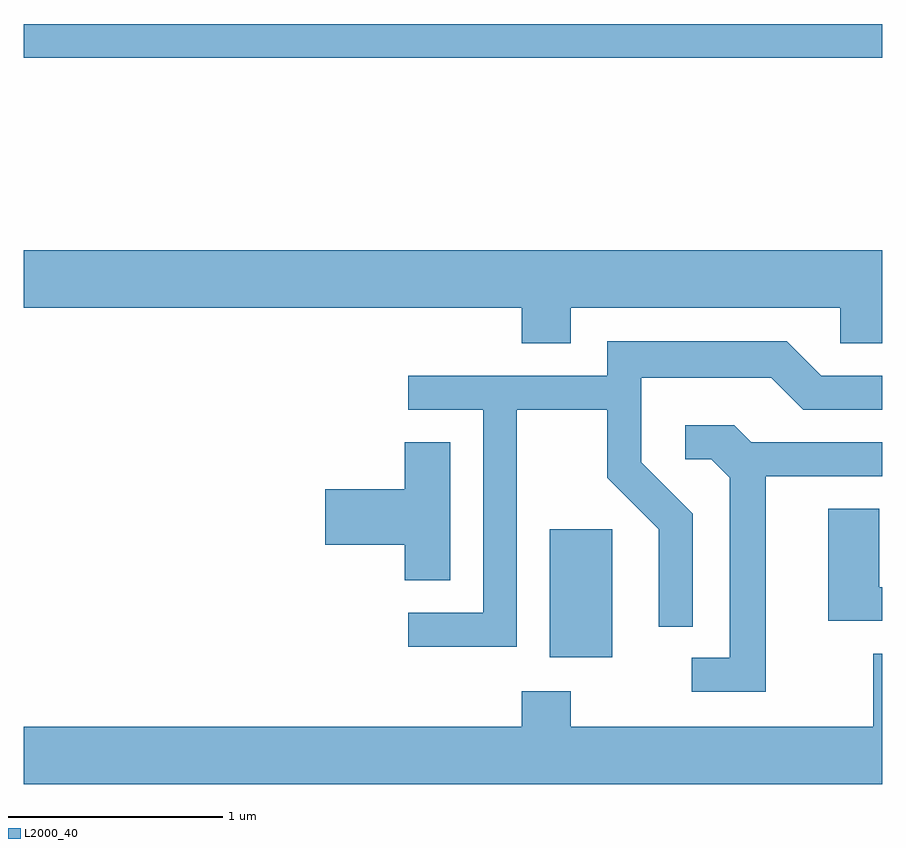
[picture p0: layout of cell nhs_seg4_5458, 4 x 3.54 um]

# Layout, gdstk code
import gdstk
lib = gdstk.Library(unit=1e-6, precision=1e-09)
def R(c, l, rs):  # rectangles x0, y0, x1, y1
    for r in rs: c.add(gdstk.rectangle(r[:2], r[2:], *l))
def P(c, l, *ps):  # polygons
    for p in ps: c.add(gdstk.Polygon(p, *l))
L2000_40 = (2000, 40)

nhs_seg4_5458 = lib.new_cell('nhs_seg4_5458')
R(nhs_seg4_5458, L2000_40, [(348.061,1290.886,348.354,1291.484), (345.611,1293.681,349.611,1293.839)])
P(nhs_seg4_5458, L2000_40, [(348.159,1292.516),(349.416,1292.516),(349.416,1292.351),(349.611,1292.351),(349.611,1292.784),(345.611,1292.784),(345.611,1292.516),(347.931,1292.516),(347.931,1292.351),(348.159,1292.351)],
  [(347.909,1292.041),(348.331,1292.041),(348.331,1291.724),(348.571,1291.484),(348.571,1291.028),(348.729,1291.028),(348.729,1291.557),(348.489,1291.797),(348.489,1292.191),(349.094,1292.191),(349.244,1292.041),(349.611,1292.041),(349.611,1292.199),(349.327,1292.199),(349.167,1292.359),(348.331,1292.359),(348.331,1292.199),(347.403,1292.199),(347.403,1292.041),(347.751,1292.041),(347.751,1291.094),(347.403,1291.094),(347.403,1290.936),(347.909,1290.936)],
  [(349.069,1291.731),(349.611,1291.731),(349.611,1291.889),(349.002,1291.889),(348.922,1291.969),(348.693,1291.969),(348.693,1291.811),(348.814,1291.811),(348.901,1291.724),(348.901,1290.884),(348.723,1290.884),(348.723,1290.726),(349.069,1290.726)],
  [(347.599,1291.889),(347.386,1291.889),(347.386,1291.669),(347.016,1291.669),(347.016,1291.411),(347.386,1291.411),(347.386,1291.246),(347.599,1291.246)],
  [(349.611,1291.214),(349.599,1291.214),(349.599,1291.579),(349.361,1291.579),(349.361,1291.056),(349.611,1291.056)],
  [(349.611,1290.904),(349.571,1290.904),(349.571,1290.564),(348.159,1290.564),(348.159,1290.729),(347.931,1290.729),(347.931,1290.564),(345.611,1290.564),(345.611,1290.296),(349.611,1290.296)])

lib.write_gds('nhs_seg4_5458.gds')
